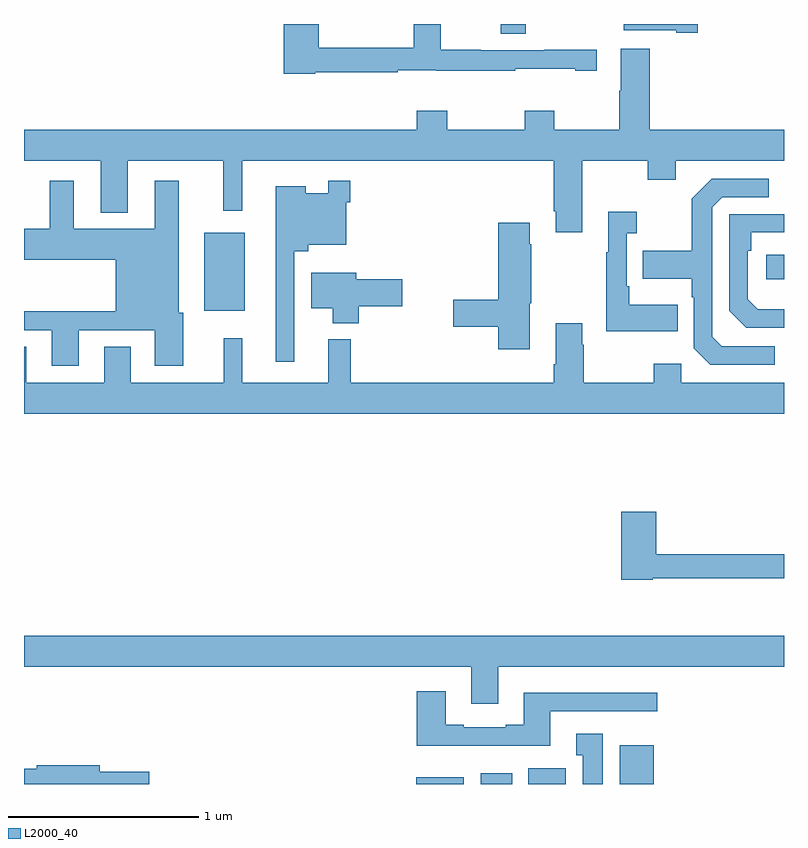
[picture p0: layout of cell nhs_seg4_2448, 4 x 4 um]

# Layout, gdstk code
import gdstk
lib = gdstk.Library(unit=1e-6, precision=1e-09)
def R(c, l, rs):  # rectangles x0, y0, x1, y1
    for r in rs: c.add(gdstk.rectangle(r[:2], r[2:], *l))
def P(c, l, *ps):  # polygons
    for p in ps: c.add(gdstk.Polygon(p, *l))
L2000_40 = (2000, 40)

nhs_seg4_2448 = lib.new_cell('nhs_seg4_2448')
R(nhs_seg4_2448, L2000_40, [(241.064,766.9,241.315,766.936), (241.403,766.9,241.57,766.957), (241.655,766.9,241.852,766.984), (242.135,766.9,242.314,767.104), (239.948,769.391,240.163,769.801), (242.907,769.556,243,769.686), (241.508,770.848,241.642,770.9)])
P(nhs_seg4_2448, L2000_40, [(240.534,770.646),(240.968,770.646),(240.968,770.657),(241.17,770.657),(241.17,770.655),(241.586,770.655),(241.586,770.665),(241.901,770.665),(241.901,770.655),(242.014,770.655),(242.014,770.765),(241.738,770.765),(241.738,770.763),(241.404,770.763),(241.404,770.764),(241.194,770.764),(241.194,770.9),(241.078,770.9),(241.078,770.899),(241.052,770.899),(241.052,770.774),(240.551,770.774),(240.551,770.9),(240.368,770.9),(240.368,770.638),(240.534,770.638)],
  [(242.545,770.9),(242.156,770.9),(242.156,770.867),(242.432,770.867),(242.432,770.855),(242.545,770.855)],
  [(241.939,770.18),(242.284,770.18),(242.284,770.081),(242.431,770.081),(242.431,770.18),(243,770.18),(243,770.344),(242.294,770.344),(242.294,770.77),(242.141,770.77),(242.141,770.549),(242.134,770.549),(242.134,770.344),(241.791,770.344),(241.791,770.443),(241.636,770.443),(241.636,770.344),(241.227,770.344),(241.227,770.443),(241.067,770.443),(241.067,770.344),(239,770.344),(239,770.18),(239.405,770.18),(239.405,769.907),(239.545,769.907),(239.545,770.18),(240.049,770.18),(240.049,769.917),(240.148,769.917),(240.148,770.18),(241.787,770.18),(241.787,769.915),(241.799,769.915),(241.799,769.803),(241.939,769.803)],
  [(242.95,769.203),(242.673,769.203),(242.622,769.254),(242.622,769.935),(242.676,769.989),(242.92,769.989),(242.92,770.085),(242.619,770.085),(242.514,769.979),(242.514,769.707),(242.257,769.707),(242.257,769.559),(242.514,769.559),(242.514,769.463),(242.526,769.463),(242.526,769.194),(242.613,769.107),(242.95,769.107)],
  [(240.423,769.703),(240.497,769.703),(240.497,769.739),(240.696,769.739),(240.696,769.961),(240.716,769.961),(240.716,770.074),(240.6,770.074),(240.6,770.008),(240.484,770.008),(240.484,770.047),(240.326,770.047),(240.326,769.122),(240.423,769.122)],
  [(239.287,769.287),(239.687,769.287),(239.687,769.101),(239.839,769.101),(239.839,769.38),(239.815,769.38),(239.815,770.074),(239.687,770.074),(239.687,769.822),(239.263,769.822),(239.263,770.074),(239.135,770.074),(239.135,769.822),(239,769.822),(239,769.658),(239.483,769.658),(239.483,769.388),(239,769.388),(239,769.287),(239.147,769.287),(239.147,769.101),(239.287,769.101)],
  [(242.441,769.423),(242.185,769.423),(242.185,769.519),(242.172,769.519),(242.172,769.799),(242.224,769.799),(242.224,769.912),(242.075,769.912),(242.075,769.699),(242.064,769.699),(242.064,769.283),(242.441,769.283)],
  [(243,769.399),(242.861,769.399),(242.808,769.452),(242.808,769.706),(242.828,769.706),(242.828,769.803),(243,769.803),(243,769.899),(242.712,769.899),(242.712,769.392),(242.802,769.302),(243,769.302)],
  [(241.663,769.431),(241.671,769.431),(241.671,769.742),(241.663,769.742),(241.663,769.855),(241.496,769.855),(241.496,769.448),(241.26,769.448),(241.26,769.306),(241.496,769.306),(241.496,769.188),(241.663,769.188)],
  [(240.761,769.414),(240.991,769.414),(240.991,769.556),(240.748,769.556),(240.748,769.591),(240.512,769.591),(240.512,769.403),(240.626,769.403),(240.626,769.325),(240.761,769.325)],
  [(243,769.012),(242.46,769.012),(242.46,769.111),(242.314,769.111),(242.314,769.012),(241.947,769.012),(241.947,769.211),(241.939,769.211),(241.939,769.324),(241.799,769.324),(241.799,769.108),(241.787,769.108),(241.787,769.012),(240.719,769.012),(240.719,769.24),(240.602,769.24),(240.602,769.012),(240.149,769.012),(240.149,769.246),(240.05,769.246),(240.05,769.012),(239.563,769.012),(239.563,769.202),(239.423,769.202),(239.423,769.012),(239.011,769.012),(239.011,769.202),(239,769.202),(239,768.848),(243,768.848)],
  [(242.31,767.982),(243,767.982),(243,768.11),(242.327,768.11),(242.327,768.334),(242.144,768.334),(242.144,767.974),(242.31,767.974)],
  [(241.495,767.516),(243,767.516),(243,767.68),(239,767.68),(239,767.516),(241.355,767.516),(241.355,767.322),(241.495,767.322)],
  [(241.771,767.283),(242.332,767.283),(242.332,767.38),(241.631,767.38),(241.631,767.212),(241.535,767.212),(241.535,767.199),(241.315,767.199),(241.315,767.212),(241.219,767.212),(241.219,767.389),(241.067,767.389),(241.067,767.102),(241.771,767.102)],
  [(242.047,767.164),(241.907,767.164),(241.907,767.051),(241.94,767.051),(241.94,766.9),(242.047,766.9)],
  [(239.659,766.964),(239.398,766.964),(239.398,767),(239.068,767),(239.068,766.98),(239,766.98),(239,766.9),(239.659,766.9)])

lib.write_gds('nhs_seg4_2448.gds')
